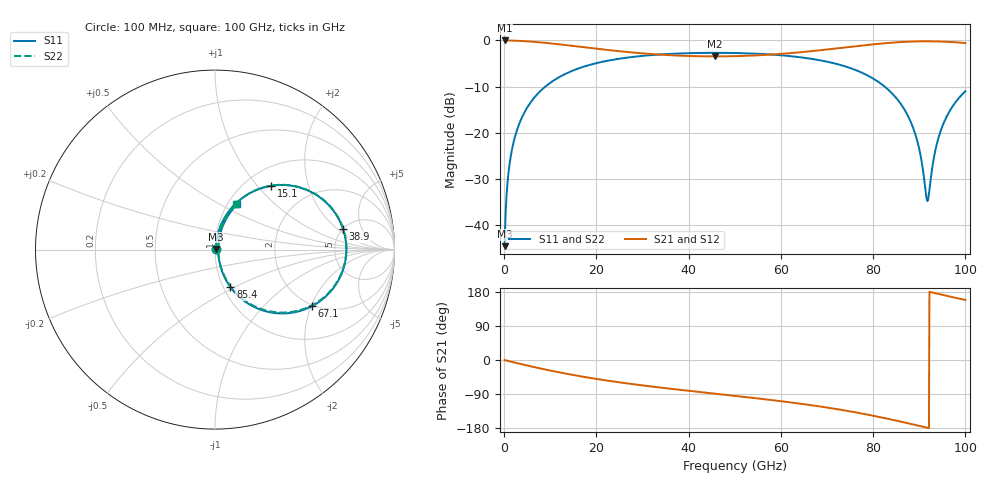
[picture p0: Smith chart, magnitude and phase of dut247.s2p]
! Touchstone file exported from HFSS 2026.1.0
!  File:  C:/ffzhzh/LocalFiles/Ansys_Project_Files/temp_train_RDL_247_1783501447_41296.aedt
!  Generated:  05:05:34 PM Jul  8, 2026
!  Design:  RDL
!  Project:  temp_train_RDL_247_1783501447_41296
! Variables:
!  h_bsmrdl = 2um
!  h_ox = 20um
!  h_rdl = 5um
!  h_sub = 80um
!  h_tmrdl = 4.59um
!  h_tsv = 80um
!  h_via = 3um
!  l_bsmrdl = 300um
!  l_sub = 1055.2um
!  l_tmrdl = 655.2um
!  m_sub = 200um
!  pitch = 58.44um
!  r_tsv = 6um
!  s_tmrdl = 10um
!  w_bsmrdl = 18um
!  w_sub = 500um
!  w_tmrdl = 11.48um
!  x_tsv_center1 = 660.94um
!  x_tsv_center2 = 978.94um
!  x_tsv_center3 = 1645.62um
!  x_tsv_center4 = 1963.62um
!  x_tsv_center5 = 2630.3um
!  x_tsv_center6 = 2948.3um
# GHz S MA R 50.000000
! Terminal data exported
! Port[1] = TM_RDL1_1_T1
! Port[2] = TM_RDL1_1_T2
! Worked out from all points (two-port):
!   1000 points, 100 MHz to 100 GHz, reference 50 ohm
!   highest |S21| = -0.04 dB at 100 MHz (marker M1); lowest = -3.5 dB at 45.7 GHz (marker M2)
!   |S21| within 3 dB of the highest: start of sweep to 32.81 GHz; 58.58 GHz to end of sweep
!   lowest |S11| = -44.5 dB at 100 MHz (marker M3), VSWR 1.01, Z = 50.4 + j0.401 ohm
!   |S11| at or under -10 dB: start of sweep to 8.945 GHz; 82.48 GHz to end of sweep
!   |S22| runs from -44.5 to -2.7 dB; largest |S21 - S12| = 1.8e-14
!   S11 on the Smith chart (normalised r, x): 100 MHz: 1.01, +0.01; 15.1 GHz: 1.30, +1.19; 38.9 GHz: 5.00, +2.42; 67.1 GHz: 1.95, -2.02; 85.4 GHz: 1.08, -0.47; 100 GHz: 1.11, +0.61
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0.1  0.005955 41.9  0.9956 -0.3  0.9956 -0.3  0.005955 41.9
! Gamma 0 0 0 0
! Port Impedance 50 0 50 0
0.8  0.03169 78.7  0.9946 -2.4  0.9946 -2.4  0.03169 78.7
1.4  0.05463 80.3  0.9933 -4.2  0.9933 -4.2  0.05463 80.3
3.7  0.1409 76.3  0.9832 -10.9  0.9832 -10.9  0.1409 76.4
8.1  0.2904 64.9  0.9466 -23.0  0.9466 -23.0  0.2904 65.0
15.1  0.4748 48.5  0.8671 -39.9  0.8671 -39.9  0.4748 48.7
16.8  0.5097 44.9  0.8472 -43.5  0.8472 -43.5  0.5097 45.1
33.4  0.7001 16.8  0.7017 -72.1  0.7017 -72.1  0.7 17.2
38.9  0.7226 9.2  0.6794 -79.8  0.6794 -79.8  0.7225 9.7
45.7  0.7321 0.3  0.6698 -88.9  0.6698 -88.9  0.7321 0.8
50.1  0.7283 -5.5  0.6739 -94.7  0.6739 -94.7  0.7283 -4.9
66.7  0.6296 -29.7  0.7634 -119.5  0.7634 -119.5  0.6296 -28.9
67.1  0.625 -30.3  0.767 -120.2  0.767 -120.2  0.625 -29.6
76.7  0.466 -48.6  0.8673 -139.3  0.8673 -139.3  0.466 -47.8
83.4  0.2884 -63.4  0.9366 -155.6  0.9366 -155.6  0.2884 -62.6
85.4  0.2248 -67.7  0.9525 -161.0  0.9525 -161.0  0.2248 -66.9
89.2  0.09459 -71.6  0.9719 -171.6  0.9719 -171.6  0.0945 -71.1
91.8  0.01832 3.2  0.9752 -179.0  0.9752 -179.0  0.01736 4.2
93.5  0.06509 68.8  0.9727 176.2  0.9727 176.2  0.06474 70.7
94.8  0.1103 72.0  0.9684 172.5  0.9684 172.5  0.1101 73.6
97.1  0.189 69.6  0.956 166.1  0.956 166.1  0.1889 71.1
100  0.2819 63.8  0.9333 158.4  0.9333 158.4  0.2817 65.2
